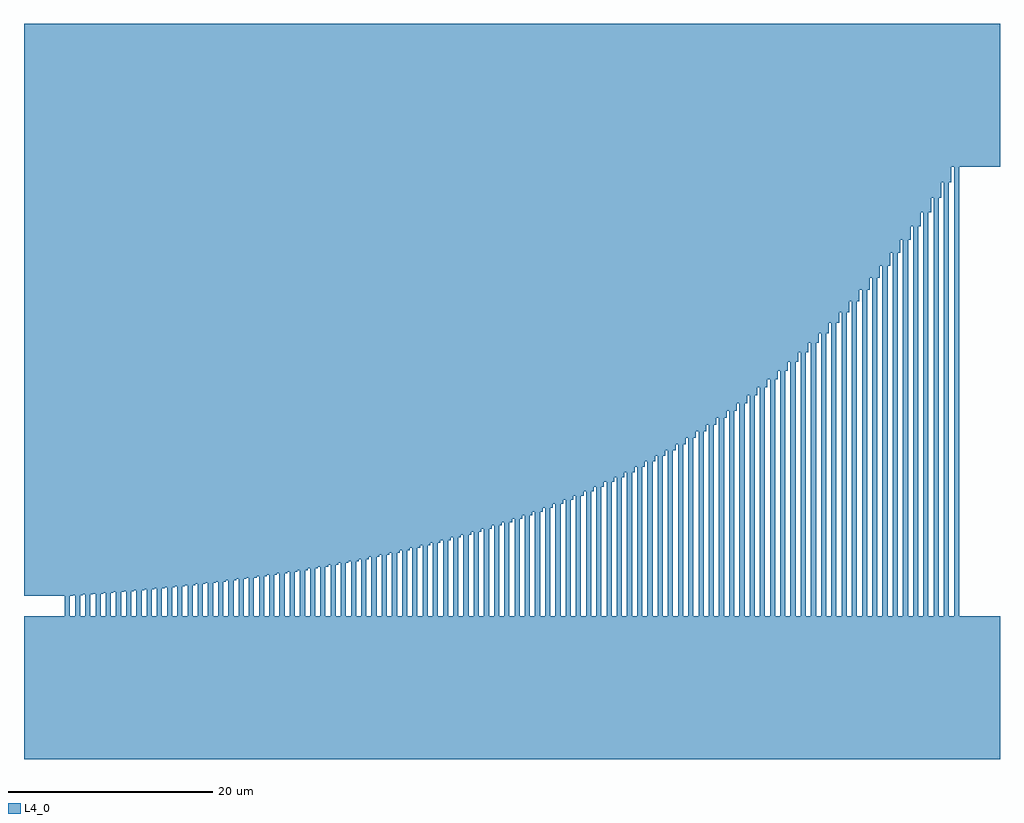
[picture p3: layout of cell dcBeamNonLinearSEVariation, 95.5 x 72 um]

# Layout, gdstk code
import gdstk
lib = gdstk.Library(unit=1e-6, precision=1e-09)
def R(c, l, rs):  # rectangles x0, y0, x1, y1
    for r in rs: c.add(gdstk.rectangle(r[:2], r[2:], *l))
def P(c, l, *ps):  # polygons
    for p in ps: c.add(gdstk.Polygon(p, *l))
L4_0 = (4, 0)

dcbeamnonlinearsevariati = lib.new_cell('dcBeamNonLinearSEVariation')
R(dcbeamnonlinearsevariati, L4_0, [(0,0,95.5,14), (4,14,4.5,16), (5,14,5.5,16.072), (6,14,6.5,16.147), (7,14,7.5,16.225), (8,14,8.5,16.305), (9,14,9.5,16.389), (10,14,10.5,16.475), (11,14,11.5,16.565), (12,14,12.5,16.657), (13,14,13.5,16.754), (14,14,14.5,16.853), (15,14,15.5,16.956), (16,14,16.5,17.063), (17,14,17.5,17.174), (18,14,18.5,17.289), (19,14,19.5,17.408), (20,14,20.5,17.531), (21,14,21.5,17.659), (22,14,22.5,17.791), (23,14,23.5,17.928), (24,14,24.5,18.07), (25,14,25.5,18.218), (26,14,26.5,18.37), (27,14,27.5,18.528), (28,14,28.5,18.692), (29,14,29.5,18.862), (30,14,30.5,19.037), (31,14,31.5,19.22), (32,14,32.5,19.408), (33,14,33.5,19.604), (34,14,34.5,19.807), (35,14,35.5,20.017), (36,14,36.5,20.234), (37,14,37.5,20.46), (38,14,38.5,20.694), (39,14,39.5,20.936), (40,14,40.5,21.186), (41,14,41.5,21.446), (42,14,42.5,21.716), (43,14,43.5,21.995), (44,14,44.5,22.284), (45,14,45.5,22.584), (46,14,46.5,22.894), (47,14,47.5,23.216), (48,14,48.5,23.549), (49,14,49.5,23.894), (50,14,50.5,24.252), (51,14,51.5,24.623), (52,14,52.5,25.007), (53,14,53.5,25.405), (54,14,54.5,25.818), (55,14,55.5,26.245), (56,14,56.5,26.688), (57,14,57.5,27.147), (58,14,58.5,27.623), (59,14,59.5,28.115), (60,14,60.5,28.626), (61,14,61.5,29.155), (62,14,62.5,29.703), (63,14,63.5,30.271), (64,14,64.5,30.859), (65,14,65.5,31.469), (66,14,66.5,32.101), (67,14,67.5,32.756), (68,14,68.5,33.434), (69,14,69.5,34.137), (70,14,70.5,34.865), (71,14,71.5,35.62), (72,14,72.5,36.402), (73,14,73.5,37.212), (74,14,74.5,38.051), (75,14,75.5,38.921), (76,14,76.5,39.823), (77,14,77.5,40.757), (78,14,78.5,41.724), (79,14,79.5,42.727), (80,14,80.5,43.766), (81,14,81.5,44.843), (82,14,82.5,45.958), (83,14,83.5,47.114), (84,14,84.5,48.312), (85,14,85.5,49.553), (86,14,86.5,50.839), (87,14,87.5,52.171), (88,14,88.5,53.551), (89,14,89.5,54.982), (90,14,90.5,56.464), (91,14,91.5,58)])
P(dcbeamnonlinearsevariati, L4_0, [(0,16),(0,72),(95.5,72),(95.5,58),(91.75,58),(90.75,58),(90.75,56.464),(89.75,56.464),(89.75,54.982),(88.75,54.982),(88.75,53.551),(87.75,53.551),(87.75,52.171),(86.75,52.171),(86.75,50.839),(85.75,50.839),(85.75,49.553),(84.75,49.553),(84.75,48.312),(83.75,48.312),(83.75,47.114),(82.75,47.114),(82.75,45.958),(81.75,45.958),(81.75,44.843),(80.75,44.843),(80.75,43.766),(79.75,43.766),(79.75,42.727),(78.75,42.727),(78.75,41.724),(77.75,41.724),(77.75,40.757),(76.75,40.757),(76.75,39.823),(75.75,39.823),(75.75,38.921),(74.75,38.921),(74.75,38.051),(73.75,38.051),(73.75,37.212),(72.75,37.212),(72.75,36.402),(71.75,36.402),(71.75,35.62),(70.75,35.62),(70.75,34.865),(69.75,34.865),(69.75,34.137),(68.75,34.137),(68.75,33.434),(67.75,33.434),(67.75,32.756),(66.75,32.756),(66.75,32.101),(65.75,32.101),(65.75,31.469),(64.75,31.469),(64.75,30.859),(63.75,30.859),(63.75,30.271),(62.75,30.271),(62.75,29.703),(61.75,29.703),(61.75,29.155),(60.75,29.155),(60.75,28.626),(59.75,28.626),(59.75,28.115),(58.75,28.115),(58.75,27.623),(57.75,27.623),(57.75,27.147),(56.75,27.147),(56.75,26.688),(55.75,26.688),(55.75,26.245),(54.75,26.245),(54.75,25.818),(53.75,25.818),(53.75,25.405),(52.75,25.405),(52.75,25.007),(51.75,25.007),(51.75,24.623),(50.75,24.623),(50.75,24.252),(49.75,24.252),(49.75,23.894),(48.75,23.894),(48.75,23.549),(47.75,23.549),(47.75,23.216),(46.75,23.216),(46.75,22.894),(45.75,22.894),(45.75,22.584),(44.75,22.584),(44.75,22.284),(43.75,22.284),(43.75,21.995),(42.75,21.995),(42.75,21.716),(41.75,21.716),(41.75,21.446),(40.75,21.446),(40.75,21.186),(39.75,21.186),(39.75,20.936),(38.75,20.936),(38.75,20.694),(37.75,20.694),(37.75,20.46),(36.75,20.46),(36.75,20.234),(35.75,20.234),(35.75,20.017),(34.75,20.017),(34.75,19.807),(33.75,19.807),(33.75,19.604),(32.75,19.604),(32.75,19.408),(31.75,19.408),(31.75,19.22),(30.75,19.22),(30.75,19.037),(29.75,19.037),(29.75,18.862),(28.75,18.862),(28.75,18.692),(27.75,18.692),(27.75,18.528),(26.75,18.528),(26.75,18.37),(25.75,18.37),(25.75,18.218),(24.75,18.218),(24.75,18.07),(23.75,18.07),(23.75,17.928),(22.75,17.928),(22.75,17.791),(21.75,17.791),(21.75,17.659),(20.75,17.659),(20.75,17.531),(19.75,17.531),(19.75,17.408),(18.75,17.408),(18.75,17.289),(17.75,17.289),(17.75,17.174),(16.75,17.174),(16.75,17.063),(15.75,17.063),(15.75,16.956),(14.75,16.956),(14.75,16.853),(13.75,16.853),(13.75,16.754),(12.75,16.754),(12.75,16.657),(11.75,16.657),(11.75,16.565),(10.75,16.565),(10.75,16.475),(9.75,16.475),(9.75,16.389),(8.75,16.389),(8.75,16.305),(7.75,16.305),(7.75,16.225),(6.75,16.225),(6.75,16.147),(5.75,16.147),(5.75,16.072),(4.75,16.072),(4.75,16)])

lib.write_gds('dcBeamNonLinearSEVariation.gds')
